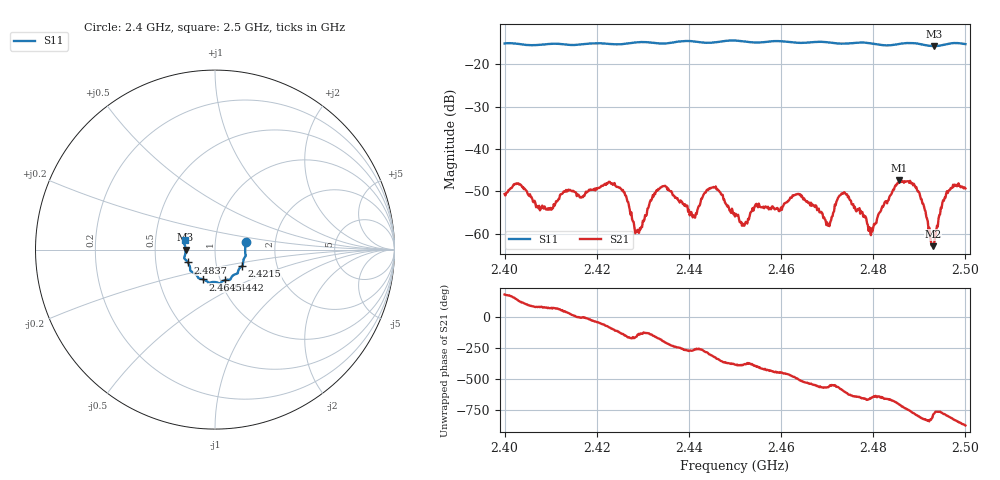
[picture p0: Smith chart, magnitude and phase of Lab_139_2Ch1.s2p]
# Hz S RI R 50
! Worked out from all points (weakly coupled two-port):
!   601 points, 2.4 GHz to 2.5 GHz, reference 50 ohm
!   highest |S21| = -47.40 dB at 2.4857 GHz (marker M1); lowest = -63.0 dB at 2.493 GHz (marker M2)
!   lowest |S11| = -15.7 dB at 2.4932 GHz (marker M3), VSWR 1.39, Z = 35.9 - j0.0507 ohm
!   |S11| at or under -10 dB: start of sweep to end of sweep
!   S12 and S22 are empty: the file has one direction only
!   S11 on the Smith chart (normalised r, x): 2.4 GHz: 1.41, +0.12; 2.4215 GHz: 1.33, -0.25; 2.4442 GHz: 1.05, -0.37; 2.4645 GHz: 0.83, -0.29; 2.4837 GHz: 0.73, -0.11; 2.5 GHz: 0.71, +0.07
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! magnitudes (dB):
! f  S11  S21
! 2.4 GHz  -15.1  -50.7
! 2.4167 GHz  -15.3  -51.5
! 2.4215 GHz  -15.1  -48.5
! 2.4255 GHz  -15.3  -49.9
! 2.4288 GHz  -14.8  -59.1
! 2.4333 GHz  -15.1  -49.5
! 2.4412 GHz  -14.6  -56.0
! 2.4442 GHz  -15.0  -49.7
! 2.45 GHz  -14.4  -56.0
! 2.4645 GHz  -15.0  -51.1
! 2.4667 GHz  -14.8  -53.5
! 2.4703 GHz  -14.9  -57.9
! 2.4738 GHz  -15.1  -50.4
! 2.4795 GHz  -15.1  -60.4
! 2.4833 GHz  -15.6  -52.1
! 2.4837 GHz  -15.5  -51.0
! 2.4857 GHz  -15.2  -47.4
! 2.4895 GHz  -15.1  -49.7
! 2.493 GHz  -15.7  -63.0
! 2.4932 GHz  -15.7  -62.7
! 2.496 GHz  -15.2  -50.0
! 2.5 GHz  -15.3  -49.3
